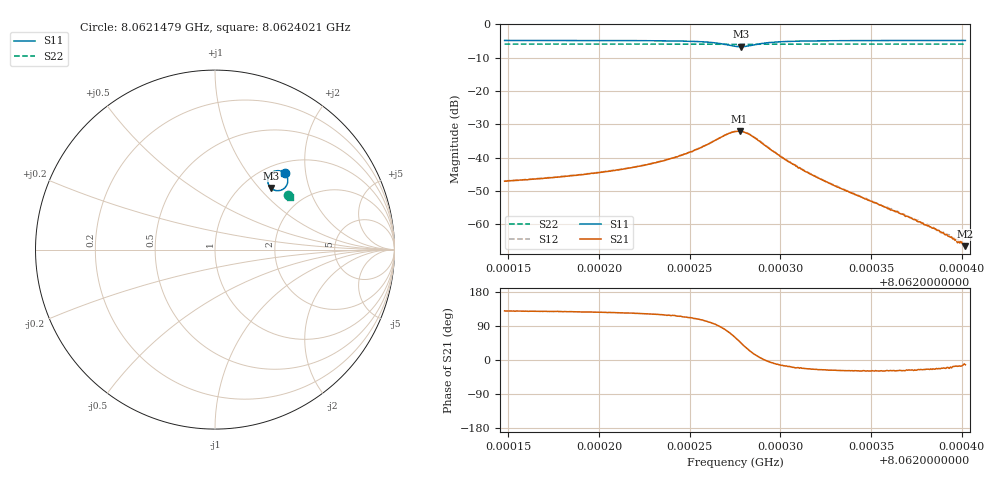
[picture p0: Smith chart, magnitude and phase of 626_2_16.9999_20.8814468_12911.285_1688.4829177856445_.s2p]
#  HZ  S  RI  R  50.00
! Rohde & Schwarz Vector Network Analyzer
! Rohde-Schwarz,ZNB20-2Port,1311601062101988,3.16
! Created: UTC 3/20/2024, 11:20:08 PM
! freq[Hz]  re:S11  im:S11  re:S21  im:S21  re:S12  im:S12  re:S22  im:S22
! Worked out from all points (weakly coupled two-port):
!   401 points, 8.0621479 GHz to 8.0624021 GHz, reference 50 ohm
!   highest |S21| = -32.05 dB at 8.0622775 GHz (marker M1); lowest = -66.6 dB at 8.0624021 GHz (marker M2)
!   lowest |S11| = -6.7 dB at 8.0622782 GHz (marker M3), VSWR 2.73, Z = 66.3 + j58 ohm
!   |S11| at or under -10 dB: nowhere
!   |S22| runs from -6.0 to -5.9 dB; largest |S21 - S12| = 0.0015
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8.06214786e9  0.3878 0.4257  -0.00283 0.00341  -0.00261 0.00364  0.4072 0.3033
8.06219044e9  0.3932 0.4193  -0.00333 0.00444  -0.00311 0.00467  0.4088 0.3011
8.0622146e9  0.3976 0.4128  -0.00382 0.00566  -0.00352 0.00593  0.4099 0.2996
8.06223303e9  0.4019 0.404  -0.00432 0.00749  -0.00393 0.00781  0.4106 0.2982
8.06224193e9  0.4041 0.3966  -0.00465 0.00893  -0.00406 0.00937  0.4108 0.2975
8.06224892e9  0.4053 0.388  -0.00446 0.0109  -0.00389 0.0112  0.4108 0.2967
8.06226227e9  0.3992 0.3582  -0.00211 0.0169  -0.00129 0.0171  0.4106 0.2948
8.06227054e9  0.3692 0.3316  0.00506 0.0218  0.00631 0.0217  0.4093 0.2938
8.06227498e9  0.3356 0.33  0.0125 0.0212  0.0136 0.0208  0.4079 0.294
8.06227753e9  0.3155 0.3396  0.0166 0.0187  0.0176 0.018  0.4072 0.2945
8.06227816e9  0.3112 0.3433  0.0173 0.0176  0.0185 0.017  0.4072 0.2949
8.06228325e9  0.2938 0.3816  0.0203 0.00881  0.0209 0.00795  0.4071 0.2963
8.06229278e9  0.3151 0.428  0.0144 -0.000747  0.0146 -0.00159  0.409 0.2977
8.06230359e9  0.3408 0.4391  0.00868 -0.00249  0.00871 -0.00313  0.4106 0.2973
8.06231757e9  0.3583 0.4391  0.00504 -0.00225  0.00495 -0.00256  0.4119 0.2962
8.06233346e9  0.3687 0.4367  0.00304 -0.00161  0.00299 -0.00178  0.4128 0.2953
8.06236016e9  0.3776 0.4326  0.0015 -0.000807  0.00145 -0.000929  0.4139 0.2937
8.06237732e9  0.3811 0.4305  0.00097 -0.000454  0.000945 -0.000523  0.4147 0.2929
8.06238622e9  0.3825 0.4295  0.000766 -0.000314  0.000708 -0.00039  0.415 0.2922
8.06239703e9  0.3842 0.4285  0.000571 -0.000165  0.000568 -0.000216  0.4154 0.2917
8.06239957e9  0.3846 0.4282  0.000535 -0.000158  0.000481 -0.000196  0.4154 0.2915
8.06240212e9  0.3849 0.4281  0.000458 -0.000102  0.000457 -0.000153  0.4156 0.2914
